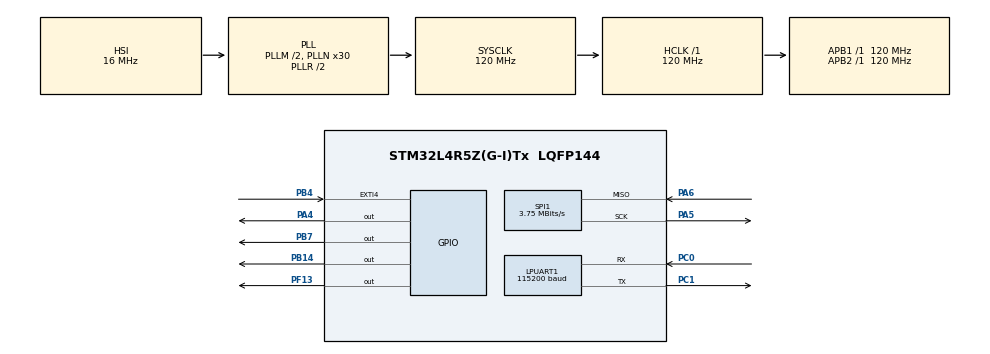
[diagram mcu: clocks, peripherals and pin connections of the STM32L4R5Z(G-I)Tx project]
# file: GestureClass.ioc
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Dma.Request0=SPI1_RX
Dma.SPI1_RX.0.Direction=DMA_PERIPH_TO_MEMORY
Dma.SPI1_RX.0.EventEnable=DISABLE
Dma.SPI1_RX.0.Instance=DMA1_Channel1
Dma.SPI1_RX.0.MemDataAlignment=DMA_MDATAALIGN_BYTE
Dma.SPI1_RX.0.MemInc=DMA_MINC_ENABLE
Dma.SPI1_RX.0.Mode=DMA_NORMAL
Dma.SPI1_RX.0.PeriphDataAlignment=DMA_PDATAALIGN_BYTE
Dma.SPI1_RX.0.PeriphInc=DMA_PINC_DISABLE
Dma.SPI1_RX.0.Polarity=HAL_DMAMUX_REQUEST_GEN_RISING
Dma.SPI1_RX.0.Priority=DMA_PRIORITY_HIGH
Dma.SPI1_RX.0.RequestNumber=1
Dma.SPI1_RX.0.SignalID=NONE
Dma.SPI1_RX.0.SyncEnable=DISABLE
Dma.SPI1_RX.0.SyncPolarity=HAL_DMAMUX_SYNC_NO_EVENT
Dma.SPI1_RX.0.SyncRequestNumber=1
Dma.SPI1_RX.0.SyncSignalID=NONE
LPUART1.BaudRate=115200
LPUART1.WordLength=UART_WORDLENGTH_8B
Mcu.Family=STM32L4
Mcu.Name=STM32L4R5Z(G-I)Tx
Mcu.Package=LQFP144
NVIC.DMA1_Channel1_IRQn=true\:0\:0\:false\:false\:true\:false\:true
NVIC.EXTI4_IRQn=true\:0\:0\:false\:false\:true\:true\:true
NVIC.PriorityGroup=NVIC_PRIORITYGROUP_4
PA13\ (JTMS/SWDIO).Mode=Serial_Wire
PA13\ (JTMS/SWDIO).Signal=SYS_JTMS-SWDIO
PA14\ (JTCK/SWCLK).Mode=Serial_Wire
PA14\ (JTCK/SWCLK).Signal=SYS_JTCK-SWCLK
PA4.Signal=GPIO_Output
PA5.Mode=RX_Only_Simplex_Unidirect_Master
PA5.Signal=SPI1_SCK
PA6.Mode=RX_Only_Simplex_Unidirect_Master
PA6.Signal=SPI1_MISO
PB14.Signal=GPIO_Output
PB4\ (NJTRST).Signal=GPXTI4
PB7.Signal=GPIO_Output
PC0.Mode=Asynchronous
PC0.Signal=LPUART1_RX
PC1.Mode=Asynchronous
PC1.Signal=LPUART1_TX
PF13.Signal=GPIO_Output
ProjectManager.HeapSize=0x200
ProjectManager.StackSize=0x400
ProjectManager.TargetToolchain=STM32CubeIDE
RCC.ADCFreq_Value=64000000
RCC.AHBFreq_Value=120000000
RCC.APB1Freq_Value=120000000
RCC.APB1TimFreq_Value=120000000
RCC.APB2Freq_Value=120000000
RCC.APB2TimFreq_Value=120000000
RCC.CortexFreq_Value=120000000
RCC.HCLKFreq_Value=120000000
RCC.HSE_VALUE=8000000
RCC.HSI48_VALUE=48000000
RCC.HSI_VALUE=16000000
RCC.LSE_VALUE=32768
RCC.MSIClockRange=RCC_MSIRANGE_11
RCC.MSI_VALUE=48000000
RCC.PLLM1=2
RCC.PLLN=30
RCC.PLLSourceVirtual=RCC_PLLSOURCE_HSI
RCC.SYSCLKFreq_VALUE=120000000
RCC.SYSCLKSource=RCC_SYSCLKSOURCE_PLLCLK
RCC.USBFreq_Value=64000000
RCC.VCOOutputFreq_Value=240000000
SPI1.BaudRatePrescaler=SPI_BAUDRATEPRESCALER_32
SPI1.CalculateBaudRate=3.75 MBits/s
SPI1.DataSize=SPI_DATASIZE_8BIT
SPI1.Direction=SPI_DIRECTION_2LINES_RXONLY
SPI1.Mode=SPI_MODE_MASTER
SPI1.VirtualType=VM_MASTER
board=custom

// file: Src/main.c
/* USER CODE BEGIN Header */
/**
  ******************************************************************************
  * @file           : main.c
  * @brief          : Main program body
  ******************************************************************************
  * @attention
  *
  * Copyright (c) 2023 STMicroelectronics.
  * All rights reserved.
  *
  * This software is licensed under terms that can be found in the LICENSE file
  * in the root directory of this software component.
  * If no LICENSE file comes with this software, it is provided AS-IS.
  *
  ******************************************************************************
  */

///////////////////////////////////////////////////////////////////
// Additional contributions by:                                  //
// - Dimitrios Samakovlis (Embedded System Laboratory - EPFL)    //
///////////////////////////////////////////////////////////////////

/* USER CODE END Header */
#include "main.h"

/* USER CODE BEGIN Includes */
#include "bss_run.h"
#include "defines.h"
/* USER CODE END Includes */

/* USER CODE BEGIN PD */
#define BUFFER_SIZE 512
#define NO_BATCHES 75			// for 24-bit samples
#define NO_BATCHES_FLOAT 100	// for 32-bit float samples
/* USER CODE END PD */

UART_HandleTypeDef hlpuart1;

SPI_HandleTypeDef hspi1;
DMA_HandleTypeDef hdma_spi1_rx;

/* USER CODE BEGIN PV */
int dma_working = 0, no_wakeups = 0, callback_flag = 0;
#ifdef DATA_ACQUISITION
int8_t input_array[NO_BATCHES * BUFFER_SIZE];		// will store the 24-bit samples
float emg_data[NO_BATCHES_FLOAT * BUFFER_SIZE];		// will store the samples that are converted to float
#endif
/* USER CODE END PV */

void SystemClock_Config(void);
static void MX_GPIO_Init(void);
static void MX_DMA_Init(void);
static void MX_SPI1_Init(void);
static void MX_LPUART1_UART_Init(void);
/* USER CODE BEGIN PFP */
#ifdef __GNUC__
#define PUTCHAR_PROTOTYPE int __io_putchar(int ch)
#else
#define PUTCHAR_PROTOTYPE int fputc(int ch, FILE *f)
#endif
PUTCHAR_PROTOTYPE
{
  HAL_UART_Transmit(&hlpuart1, (uint8_t *)&ch, 1, HAL_MAX_DELAY);
  return ch;
}

// DMA SPI Callback
void HAL_SPI_RxCpltCallback(SPI_HandleTypeDef * hspi)
{
	dma_working = 0;
}

void gpio_toggle(){
	HAL_GPIO_TogglePin(GPIOF, GPIO_PIN_13);
}

void led_toggle(){
	HAL_GPIO_TogglePin(GPIOB, GPIO_PIN_14);
}

// STOP Mode 2
void deep_sleep(){
		  // Prepare sleep mode
			HAL_SuspendTick();

		  // Shut down FLASH memory
		  __HAL_FLASH_SLEEP_POWERDOWN_ENABLE();

		  /* Enter Sleep mode */
		  HAL_PWREx_EnterSTOP2Mode(PWR_STOPENTRY_WFI);

		  // Recover from sleep
		  SystemClock_Config();
		  HAL_ResumeTick();
}

// Light sleep
// Allows DMA to function
void light_sleep()	{
	 	// Sleep and wait for DMA to complete
		HAL_SuspendTick();
		while (dma_working)
			HAL_PWR_EnterSLEEPMode(PWR_MAINREGULATOR_ON, PWR_STOPENTRY_WFI);

		SystemClock_Config();
		HAL_ResumeTick();
		HAL_GPIO_WritePin(GPIOA, GPIO_PIN_4, GPIO_PIN_SET);
}

// Receive input signal through SPI
void fetch_input_SPI(uint8_t *Recv_Buffer, uint16_t buffer_size)	{
	// receive through DMA
	dma_working = 1;
	// Manually enable Chip select
	HAL_GPIO_WritePin(GPIOA, GPIO_PIN_4, GPIO_PIN_RESET);
	HAL_SPI_Receive_DMA(&hspi1, Recv_Buffer, buffer_size);
}

#ifdef DATA_ACQUISITION
// GPIO callback from wakeup interrupt
void HAL_GPIO_EXTI_Callback(uint16_t GPIO_Pin)	{
	// Recover from sleep
	SystemClock_Config();
	HAL_ResumeTick();

	fetch_input_SPI((uint8_t *) (input_array + no_wakeups * BUFFER_SIZE), (uint16_t) BUFFER_SIZE);

	no_wakeups++;
	callback_flag = 1;
}

// Convert 24-bit samples to float
// assume 12-bit decimal part
void prepare_input()	{
	int j = 0;
	for (int i = 0; i < NO_BATCHES * BUFFER_SIZE; i+=3)	{
		int32_t *ptr = (int32_t *)&input_array[i];

		// positive number
		if (input_array[i] > 0)	{
			int32_t temp = 0x00ffffff & (*ptr);
			emg_data[j++] = (float) temp / (float) 4096;
		}
		// negative number
		else	{
			int32_t temp = (0x80000000) | (0x00ffffff & (*ptr));
			// 2's complement
			temp--;
			temp = ~temp;
			emg_data[j] = (float) temp / (float) 4096;
			emg_data[j++] = -emg_data[j++];
		}
	}
}
#endif

/* USER CODE END PFP */

int main(void)
{

  /* MCU Configuration--------------------------------------------------------*/

  /* Reset of all peripherals, Initializes the Flash interface and the Systick. */
  HAL_Init();

  /* Configure the system clock */
  SystemClock_Config();

  /* Initialize all configured peripherals */
  MX_GPIO_Init();
  MX_DMA_Init();
  MX_SPI1_Init();
  MX_LPUART1_UART_Init();

  /* Infinite loop */
  /* USER CODE BEGIN WHILE */
  while (1)
  {
	  deep_sleep();
#ifdef DATA_ACQUISITION
	  // run computations when signal acquisition is complete
	  if (no_wakeups == NO_BATCHES)	{
		no_wakeups = 0;		// reset counter before computing (counter increases in every RTC interrupt)
		gpio_toggle();
	  	run_semg_bss();
	  	gpio_toggle();
	  }
	  // Light sleep while waiting for DMA to finish
	  light_sleep();
	  // Pull Chip select back high
	  HAL_GPIO_WritePin(GPIOA, GPIO_PIN_4, GPIO_PIN_SET);
#else
	  gpio_toggle();
	  run_semg_bss();
	  gpio_toggle();
#endif

    /* USER CODE END WHILE */

  }
}

void SystemClock_Config(void)
{
  RCC_OscInitTypeDef RCC_OscInitStruct = {0};
  RCC_ClkInitTypeDef RCC_ClkInitStruct = {0};

  /** Configure the main internal regulator output voltage
  */
  if (HAL_PWREx_ControlVoltageScaling(PWR_REGULATOR_VOLTAGE_SCALE1_BOOST) != HAL_OK)
  {
    Error_Handler();
  }
  /** Initializes the RCC Oscillators according to the specified parameters
  * in the RCC_OscInitTypeDef structure.
  */
  RCC_OscInitStruct.OscillatorType = RCC_OSCILLATORTYPE_HSI;
  RCC_OscInitStruct.HSIState = RCC_HSI_ON;
  RCC_OscInitStruct.HSICalibrationValue = RCC_HSICALIBRATION_DEFAULT;
  RCC_OscInitStruct.PLL.PLLState = RCC_PLL_ON;
  RCC_OscInitStruct.PLL.PLLSource = RCC_PLLSOURCE_HSI;
  RCC_OscInitStruct.PLL.PLLM = 2;
  RCC_OscInitStruct.PLL.PLLN = 30;
  RCC_OscInitStruct.PLL.PLLP = RCC_PLLP_DIV2;
  RCC_OscInitStruct.PLL.PLLQ = RCC_PLLQ_DIV2;
  RCC_OscInitStruct.PLL.PLLR = RCC_PLLR_DIV2;
  if (HAL_RCC_OscConfig(&RCC_OscInitStruct) != HAL_OK)
  {
    Error_Handler();
  }
  /** Initializes the CPU, AHB and APB buses clocks
  */
  RCC_ClkInitStruct.ClockType = RCC_CLOCKTYPE_HCLK|RCC_CLOCKTYPE_SYSCLK
                              |RCC_CLOCKTYPE_PCLK1|RCC_CLOCKTYPE_PCLK2;
  RCC_ClkInitStruct.SYSCLKSource = RCC_SYSCLKSOURCE_PLLCLK;
  RCC_ClkInitStruct.AHBCLKDivider = RCC_SYSCLK_DIV1;
  RCC_ClkInitStruct.APB1CLKDivider = RCC_HCLK_DIV1;
  RCC_ClkInitStruct.APB2CLKDivider = RCC_HCLK_DIV1;

  if (HAL_RCC_ClockConfig(&RCC_ClkInitStruct, FLASH_LATENCY_5) != HAL_OK)
  {
    Error_Handler();
  }
}

static void MX_LPUART1_UART_Init(void)
{

  hlpuart1.Instance = LPUART1;
  hlpuart1.Init.BaudRate = 115200;
  hlpuart1.Init.WordLength = UART_WORDLENGTH_8B;
  hlpuart1.Init.StopBits = UART_STOPBITS_1;
  hlpuart1.Init.Parity = UART_PARITY_NONE;
  hlpuart1.Init.Mode = UART_MODE_TX_RX;
  hlpuart1.Init.HwFlowCtl = UART_HWCONTROL_NONE;
  hlpuart1.Init.OneBitSampling = UART_ONE_BIT_SAMPLE_DISABLE;
  hlpuart1.Init.ClockPrescaler = UART_PRESCALER_DIV1;
  hlpuart1.AdvancedInit.AdvFeatureInit = UART_ADVFEATURE_NO_INIT;
  hlpuart1.FifoMode = UART_FIFOMODE_DISABLE;
  if (HAL_UART_Init(&hlpuart1) != HAL_OK)
  {
    Error_Handler();
  }
  if (HAL_UARTEx_SetTxFifoThreshold(&hlpuart1, UART_TXFIFO_THRESHOLD_1_8) != HAL_OK)
  {
    Error_Handler();
  }
  if (HAL_UARTEx_SetRxFifoThreshold(&hlpuart1, UART_RXFIFO_THRESHOLD_1_8) != HAL_OK)
  {
    Error_Handler();
  }
  if (HAL_UARTEx_DisableFifoMode(&hlpuart1) != HAL_OK)
  {
    Error_Handler();
  }

}

static void MX_SPI1_Init(void)
{

  /* SPI1 parameter configuration*/
  hspi1.Instance = SPI1;
  hspi1.Init.Mode = SPI_MODE_MASTER;
  hspi1.Init.Direction = SPI_DIRECTION_2LINES_RXONLY;
  hspi1.Init.DataSize = SPI_DATASIZE_8BIT;
  hspi1.Init.CLKPolarity = SPI_POLARITY_LOW;
  hspi1.Init.CLKPhase = SPI_PHASE_1EDGE;
  hspi1.Init.NSS = SPI_NSS_SOFT;
  hspi1.Init.BaudRatePrescaler = SPI_BAUDRATEPRESCALER_32;
  hspi1.Init.FirstBit = SPI_FIRSTBIT_MSB;
  hspi1.Init.TIMode = SPI_TIMODE_DISABLE;
  hspi1.Init.CRCCalculation = SPI_CRCCALCULATION_DISABLE;
  hspi1.Init.CRCPolynomial = 7;
  hspi1.Init.CRCLength = SPI_CRC_LENGTH_DATASIZE;
  hspi1.Init.NSSPMode = SPI_NSS_PULSE_ENABLE;
  if (HAL_SPI_Init(&hspi1) != HAL_OK)
  {
    Error_Handler();
  }

}

static void MX_DMA_Init(void)
{

  /* DMA controller clock enable */
  __HAL_RCC_DMAMUX1_CLK_ENABLE();
  __HAL_RCC_DMA1_CLK_ENABLE();

  /* DMA interrupt init */
  /* DMA1_Channel1_IRQn interrupt configuration */
  HAL_NVIC_SetPriority(DMA1_Channel1_IRQn, 0, 0);
  HAL_NVIC_EnableIRQ(DMA1_Channel1_IRQn);

}

static void MX_GPIO_Init(void)
{
  GPIO_InitTypeDef GPIO_InitStruct = {0};

  /* GPIO Ports Clock Enable */
  __HAL_RCC_GPIOC_CLK_ENABLE();
  __HAL_RCC_GPIOA_CLK_ENABLE();
  __HAL_RCC_GPIOF_CLK_ENABLE();
  __HAL_RCC_GPIOB_CLK_ENABLE();

  /*Configure GPIO pin Output Level */
  HAL_GPIO_WritePin(GPIOA, GPIO_PIN_4, GPIO_PIN_SET);

  /*Configure GPIO pin Output Level */
  HAL_GPIO_WritePin(GPIOF, GPIO_PIN_13, GPIO_PIN_RESET);

  /*Configure GPIO pin Output Level */
  HAL_GPIO_WritePin(GPIOB, GPIO_PIN_14|GPIO_PIN_7, GPIO_PIN_RESET);

  /*Configure GPIO pin : PA4 */
  GPIO_InitStruct.Pin = GPIO_PIN_4;
  GPIO_InitStruct.Mode = GPIO_MODE_OUTPUT_PP;
  GPIO_InitStruct.Pull = GPIO_NOPULL;
  GPIO_InitStruct.Speed = GPIO_SPEED_FREQ_LOW;
  HAL_GPIO_Init(GPIOA, &GPIO_InitStruct);

  /*Configure GPIO pin : PF13 */
  GPIO_InitStruct.Pin = GPIO_PIN_13;
  GPIO_InitStruct.Mode = GPIO_MODE_OUTPUT_PP;
  GPIO_InitStruct.Pull = GPIO_NOPULL;
  GPIO_InitStruct.Speed = GPIO_SPEED_FREQ_LOW;
  HAL_GPIO_Init(GPIOF, &GPIO_InitStruct);

  /*Configure GPIO pins : PB14 PB7 */
  GPIO_InitStruct.Pin = GPIO_PIN_14|GPIO_PIN_7;
  GPIO_InitStruct.Mode = GPIO_MODE_OUTPUT_PP;
  GPIO_InitStruct.Pull = GPIO_NOPULL;
  GPIO_InitStruct.Speed = GPIO_SPEED_FREQ_LOW;
  HAL_GPIO_Init(GPIOB, &GPIO_InitStruct);

  /*Configure GPIO pin : PB4 */
  GPIO_InitStruct.Pin = GPIO_PIN_4;
  GPIO_InitStruct.Mode = GPIO_MODE_IT_RISING;
  GPIO_InitStruct.Pull = GPIO_NOPULL;
  HAL_GPIO_Init(GPIOB, &GPIO_InitStruct);

  /* EXTI interrupt init*/
  HAL_NVIC_SetPriority(EXTI4_IRQn, 0, 0);
  HAL_NVIC_EnableIRQ(EXTI4_IRQn);

}

void Error_Handler(void)
{
  __disable_irq();
  while (1)
  {
  }
}
